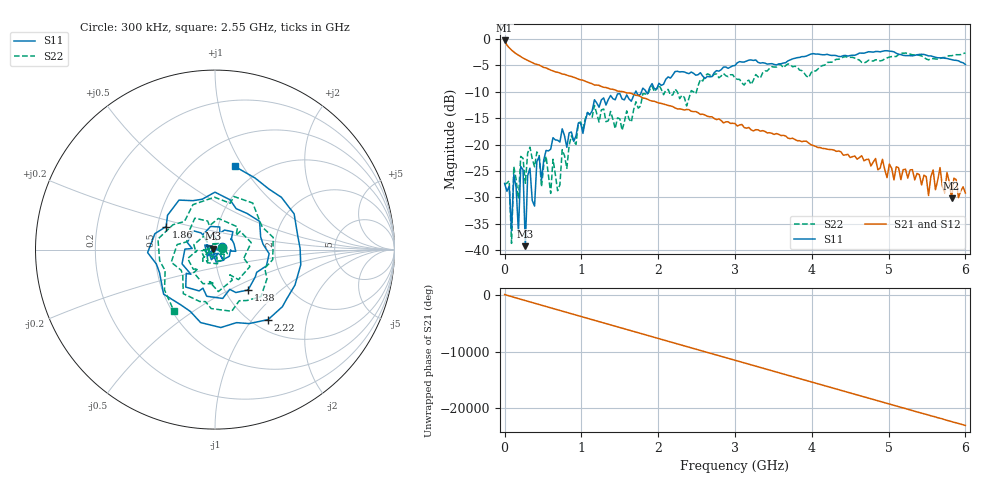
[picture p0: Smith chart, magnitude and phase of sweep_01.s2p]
! 2-port S-parameters written by miniscope-char acquisition
! instrument: Pico Technology Ltd,PicoVNA-106,10080,5.3.4
! transport: scpi
! endpoint: 127.0.0.1:5025
! demo: false
! calibration: software
# HZ S RI R 50
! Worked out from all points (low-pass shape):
!   201 points, 300 kHz to 6 GHz, reference 50 ohm
!   highest |S21| = -0.34 dB at 300 kHz (marker M1); lowest = -30.2 dB at 5.82 GHz (marker M2)
!   |S21| within 3 dB of the highest: start of sweep to 201.8 MHz
!   lowest |S11| = -39.2 dB at 270.3 MHz (marker M3), VSWR 1.02, Z = 49 + j0.419 ohm
!   |S11| at or under -10 dB: start of sweep to 1.707 GHz; 1.714 GHz to 1.783 GHz (69.22 MHz wide, 3.96 % of centre); 1.842 GHz to 1.871 GHz (28.97 MHz wide, 1.56 % of centre)
!   |S22| runs from -38.7 to -2.7 dB; largest |S21 - S12| = 0.012
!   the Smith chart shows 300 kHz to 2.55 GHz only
!   S11 on the Smith chart (normalised r, x): 300 kHz: 1.08, +0.03; 1.38 GHz: 1.28, -0.63; 1.86 GHz: 0.56, +0.16; 2.22 GHz: 1.17, -1.20; 2.55 GHz: 0.77, +0.92
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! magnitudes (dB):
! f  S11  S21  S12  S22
! 300 kHz  -27.3  -0.3  -0.4  -27.6
! 60.3 MHz  -27.9  -1.7  -1.7  -26.8
! 90.3 MHz  -36.3  -2.1  -2.1  -38.7
! 120.3 MHz  -25.7  -2.5  -2.5  -24.2
! 180.3 MHz  -36.6  -3.1  -3.1  -30.2
! 240.3 MHz  -24.8  -3.7  -3.6  -22.6
! 270.3 MHz  -39.2  -3.9  -3.9  -27.3
! 330.3 MHz  -24.5  -4.3  -4.3  -20.5
! 390.3 MHz  -31.6  -4.7  -4.7  -24.2
! 420.3 MHz  -23.2  -4.9  -4.8  -21.4
! 600.3 MHz  -20.9  -5.9  -5.9  -29.2
! 1.02 GHz  -17.9  -7.8  -7.8  -17.0
! 1.38 GHz  -10.7  -9.5  -9.5  -13.7
! 1.86 GHz  -10.4  -11.4  -11.4  -10.6
! 2.01 GHz  -8.4  -12.2  -12.2  -8.7
! 2.22 GHz  -6.2  -13.1  -13.1  -9.5
! 2.55 GHz  -6.4  -14.3  -14.3  -7.7
! 3 GHz  -5.1  -16.0  -16.1  -7.5
! 4.02 GHz  -2.8  -20.2  -20.2  -6.0
! 5.01 GHz  -2.4  -23.7  -23.7  -3.5
! 5.82 GHz  -4.0  -30.2  -30.1  -3.2
! 6 GHz  -4.9  -29.2  -29.1  -2.7
